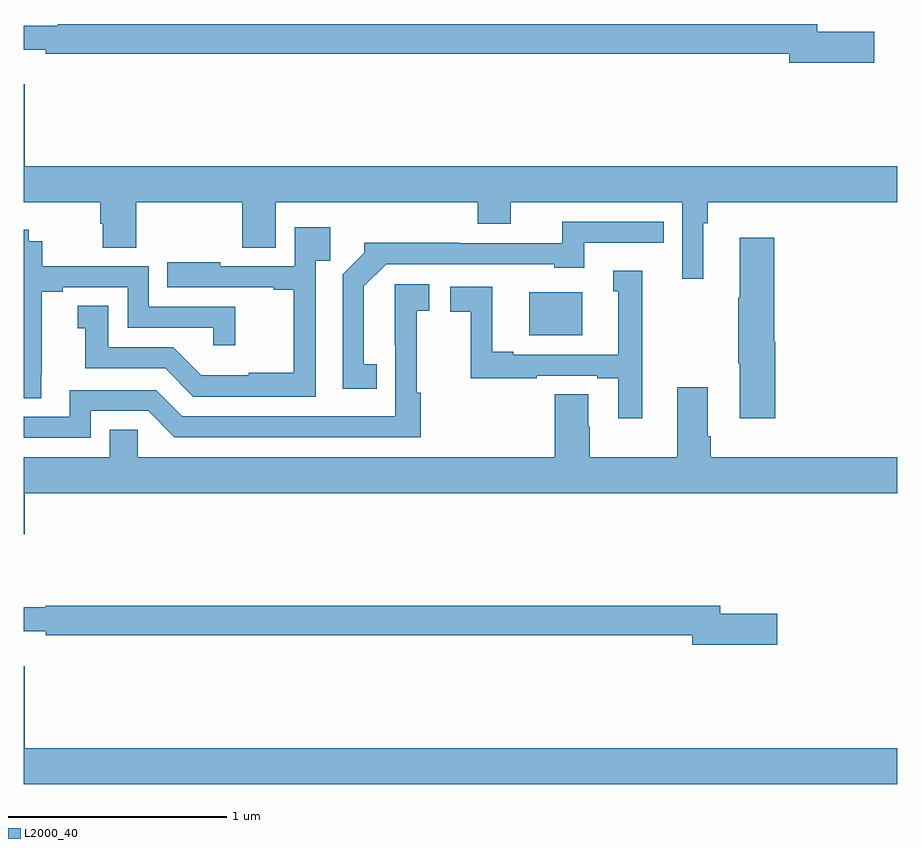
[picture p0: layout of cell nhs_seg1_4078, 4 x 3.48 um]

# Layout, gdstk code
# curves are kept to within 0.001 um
import gdstk
lib = gdstk.Library(unit=1e-6, precision=1e-09)
def R(c, l, rs):  # rectangles x0, y0, x1, y1
    for r in rs: c.add(gdstk.rectangle(r[:2], r[2:], *l))
def P(c, l, *ps):  # polygons
    for p in ps: c.add(gdstk.Polygon(p, *l))
L2000_40 = (2000, 40)

nhs_seg1_4078 = lib.new_cell('nhs_seg1_4078')
R(nhs_seg1_4078, L2000_40, [(335.315,540.467,335.557,540.664)])
P(nhs_seg1_4078, L2000_40, [(336.895,541.856),(336.634,541.856),(336.634,541.892),(333.155,541.892),(333.155,541.885),(333,541.885),(333,541.775),(333.1,541.775),(333.1,541.756),(336.506,541.756),(336.506,541.714),(336.895,541.714)],
  [(336.112,540.98),(336.131,540.98),(336.131,541.076),(337,541.076),(337,541.24),(333.004,541.24),(333.004,541.615),(333,541.615),(333,541.076),(333.35,541.076),(333.35,540.978),(333.362,540.978),(333.362,540.868),(333.515,540.868),(333.515,541.076),(334.001,541.076),(334.001,540.868),(334.153,540.868),(334.153,541.076),(335.078,541.076),(335.078,540.977),(335.23,540.977),(335.23,541.076),(336.015,541.076),(336.015,540.726),(336.112,540.726)],
  [(334.616,540.335),(334.558,540.335),(334.558,540.691),(334.659,540.792),(335.43,540.792),(335.43,540.776),(335.566,540.776),(335.566,540.891),(335.93,540.891),(335.93,540.987),(335.467,540.987),(335.467,540.888),(334.994,540.888),(334.994,540.89),(334.56,540.89),(334.56,540.845),(334.461,540.746),(334.461,540.222),(334.616,540.222)],
  [(334.338,540.809),(334.403,540.809),(334.403,540.961),(334.242,540.961),(334.242,540.783),(333.901,540.783),(333.901,540.802),(333.658,540.802),(333.658,540.687),(334.145,540.687),(334.145,540.675),(334.237,540.675),(334.237,540.295),(334.031,540.295),(334.031,540.283),(333.812,540.283),(333.684,540.411),(333.388,540.411),(333.388,540.602),(333.248,540.602),(333.248,540.499),(333.281,540.499),(333.281,540.315),(333.648,540.315),(333.777,540.186),(334.338,540.186)],
  [(333.08,540.289),(333.082,540.289),(333.082,540.667),(333.178,540.667),(333.178,540.687),(333.477,540.687),(333.477,540.501),(333.867,540.501),(333.867,540.42),(333.968,540.42),(333.968,540.597),(333.573,540.597),(333.573,540.783),(333.086,540.783),(333.086,540.897),(333.024,540.897),(333.024,540.949),(333,540.949),(333,540.178),(333.08,540.178)],
  [(336.442,540.438),(336.437,540.438),(336.437,540.913),(336.278,540.913),(336.278,540.638),(336.271,540.638),(336.271,540.338),(336.278,540.338),(336.278,540.086),(336.442,540.086)],
  [(335.833,540.763),(335.699,540.763),(335.699,540.669),(335.723,540.669),(335.723,540.378),(335.242,540.378),(335.242,540.391),(335.146,540.391),(335.146,540.69),(334.953,540.69),(334.953,540.574),(335.047,540.574),(335.047,540.27),(335.348,540.27),(335.348,540.282),(335.627,540.282),(335.627,540.27),(335.723,540.27),(335.723,540.087),(335.833,540.087)],
  [(333.306,540.12),(333.57,540.12),(333.69,540),(334.817,540),(334.817,540.203),(334.8,540.203),(334.8,540.579),(334.858,540.579),(334.858,540.7),(334.7,540.7),(334.701,540.096),(333.726,540.096),(333.606,540.216),(333.21,540.216),(333.21,540.093),(333,540.093),(333,539.997),(333.306,539.997)],
  [(333.004,539.744),(337,539.744),(337,539.908),(336.146,539.908),(336.146,540.004),(336.133,540.004),(336.133,540.229),(335.993,540.229),(335.993,539.908),(335.592,539.908),(335.592,540.047),(335.584,540.047),(335.584,540.197),(335.432,540.197),(335.432,539.908),(333.522,539.908),(333.522,540.035),(333.395,540.035),(333.395,539.908),(333,539.908),(333,539.556),(333.004,539.556)],
  [(336.451,539.192),(336.19,539.192),(336.19,539.228),(333.101,539.228),(333.101,539.221),(333,539.221),(333,539.111),(333.1,539.111),(333.1,539.092),(336.062,539.092),(336.062,539.05),(336.451,539.05)],
  [(337,538.576),(333.004,538.576),(333.004,538.951),(333,538.951),(333,538.412),(337,538.412)])

lib.write_gds('nhs_seg1_4078.gds')
